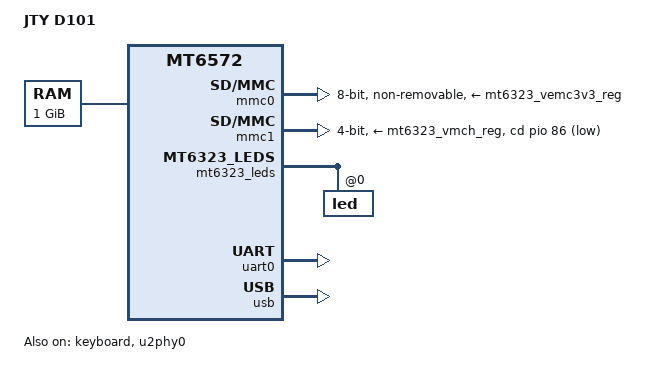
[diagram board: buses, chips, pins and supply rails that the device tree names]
// SPDX-License-Identifier: GPL-2.0
/*
 * Copyright (c) 2025 Max Shevchenko <wctrl@proton.me>
 */

/dts-v1/;
#include <dt-bindings/gpio/gpio.h>
#include <dt-bindings/input/input.h>
#include <dt-bindings/leds/common.h>
#include "mt6572.dtsi"
#include "mt6323.dtsi"

/ {
	model = "JTY D101";
	compatible = "jty,d101", "mediatek,mt6572";

	aliases {
		serial0 = &uart0;
	};

	chosen {
		#address-cells = <1>;
		#size-cells = <1>;
		stdout-path = "serial0:921600n8";

		framebuffer: framebuffer@bf400000 {
			compatible = "simple-framebuffer";
			memory-region = <&framebuffer_reserved>;
			width = <1024>;
			height = <600>;
			stride = <(1024 * 2)>;
			format = "r5g6b5";
			power-domains = <&spm MT6572_POWER_DOMAIN_DIS>;
		};
	};

	memory@80000000 {
		device_type = "memory";
		reg = <0x80000000 0x40000000>;
	};

	reserved-memory {
		#address-cells = <1>;
		#size-cells = <1>;
		ranges;

		connsys@80000000 {
			reg = <0x80000000 0x100000>;
			no-map;
		};

		modem@be000000 {
			reg = <0xbe000000 0x1400000>;
			no-map;
		};

		framebuffer_reserved: framebuffer@bf400000 {
			reg = <0xbf400000 0xc00000>;
			no-map;
		};
	};
};

&cpu0 {
	proc-supply = <&mt6323_vproc_reg>;
};

&cpu1 {
	proc-supply = <&mt6323_vproc_reg>;
};

&keyboard {
	pinctrl-0 = <&keypad_pins>;
	pinctrl-names = "default";
	status = "okay";

	debounce-delay-ms = <32>;
	keypad,num-rows = <2>;
	keypad,num-columns = <1>;
	linux,keymap = <MATRIX_KEY(0, 0, KEY_VOLUMEUP)
			MATRIX_KEY(1, 0, KEY_VOLUMEDOWN)>;
};

&mmc0 {
	bus-width = <8>;
	max-frequency = <200000000>;
	mmc-ddr-1_8v;
	mmc-hs200-1_8v;
	cap-mmc-highspeed;
	non-removable;
	no-sd;
	no-sdio;

	vmmc-supply = <&mt6323_vemc3v3_reg>;
	vqmmc-supply = <&mt6323_vio18_reg>;
	pinctrl-0 = <&mmc0_pins_default>;
	pinctrl-1 = <&mmc0_pins_uhs>;
	pinctrl-names = "default", "state_uhs";

	assigned-clocks = <&topckgen CLK_TOP_MSDC0_SEL>;
	assigned-clock-parents = <&topckgen CLK_TOP_MAINPLL_D8>;

	status = "okay";
};

&mmc1 {
	bus-width = <4>;
	max-frequency = <200000000>;
	sd-uhs-sdr12;
	sd-uhs-sdr25;
	sd-uhs-sdr50;
	sd-uhs-sdr104;
	sd-uhs-ddr50;
	cap-sd-highspeed;
	no-mmc;
	no-sdio;

	vmmc-supply = <&mt6323_vmch_reg>;
	vqmmc-supply = <&mt6323_vmc_reg>;
	pinctrl-0 = <&mmc1_pins_cd>, <&mmc1_pins_default>;
	pinctrl-1 = <&mmc1_pins_cd>, <&mmc1_pins_uhs>;
	pinctrl-names = "default", "state_uhs";
	cd-gpios = <&pio 86 GPIO_ACTIVE_LOW>;

	assigned-clocks = <&topckgen CLK_TOP_MSDC1_SEL>;
	assigned-clock-parents = <&topckgen CLK_TOP_MAINPLL_D10>;

	status = "okay";
};

&mt6323_leds {
	status = "okay";

	led@0 {
		reg = <0>;
		function = LED_FUNCTION_TORCH;
		color = <LED_COLOR_ID_WHITE>;
		default-state = "off";
		linux,default-trigger = "torch";
	};
};

&pio {
	keypad_pins: keypad-pins {
		pins-keypad {
			pinmux = <PINMUX_GPIO110__FUNC_KROW0>,
				 <PINMUX_GPIO111__FUNC_KROW1>;
		};
	};

	mmc0_pins_default: mmc0-default-pins {
		pins-cmd-dat {
			pinmux = <PINMUX_GPIO45__FUNC_MC0_CMD>,
				 <PINMUX_GPIO46__FUNC_MC0_DAT0>,
				 <PINMUX_GPIO47__FUNC_MC0_DAT1>,
				 <PINMUX_GPIO48__FUNC_MC0_DAT2>,
				 <PINMUX_GPIO49__FUNC_MC0_DAT3>,
				 <PINMUX_GPIO50__FUNC_MC0_DAT4>,
				 <PINMUX_GPIO51__FUNC_MC0_DAT5>,
				 <PINMUX_GPIO52__FUNC_MC0_DAT6>,
				 <PINMUX_GPIO53__FUNC_MC0_DAT7>;
			input-enable;
			input-schmitt-enable;
			drive-strength = <6>;
			bias-pull-up = <MTK_PUPD_SET_R1R0_01>;
		};

		pins-clk {
			pinmux = <PINMUX_GPIO44__FUNC_MC0_CK>;
			drive-strength = <6>;
			bias-pull-down = <MTK_PUPD_SET_R1R0_10>;
		};

		pins-rst {
			pinmux = <PINMUX_GPIO54__FUNC_MC0_RSTB>;
			drive-strength = <6>;
			bias-pull-up;
		};
	};

	mmc0_pins_uhs: mmc0-uhs-pins {
		pins-cmd-dat {
			pinmux = <PINMUX_GPIO45__FUNC_MC0_CMD>,
				 <PINMUX_GPIO46__FUNC_MC0_DAT0>,
				 <PINMUX_GPIO47__FUNC_MC0_DAT1>,
				 <PINMUX_GPIO48__FUNC_MC0_DAT2>,
				 <PINMUX_GPIO49__FUNC_MC0_DAT3>,
				 <PINMUX_GPIO50__FUNC_MC0_DAT4>,
				 <PINMUX_GPIO51__FUNC_MC0_DAT5>,
				 <PINMUX_GPIO52__FUNC_MC0_DAT6>,
				 <PINMUX_GPIO53__FUNC_MC0_DAT7>;
			input-enable;
			input-schmitt-enable;
			drive-strength = <8>;
			bias-pull-up = <MTK_PUPD_SET_R1R0_01>;
		};

		pins-clk {
			pinmux = <PINMUX_GPIO44__FUNC_MC0_CK>;
			drive-strength = <8>;
			bias-pull-down = <MTK_PUPD_SET_R1R0_10>;
		};

		pins-rst {
			pinmux = <PINMUX_GPIO54__FUNC_MC0_RSTB>;
			drive-strength = <8>;
			bias-pull-up;
		};
	};

	mmc1_pins_default: mmc1-default-pins {
		pins-cmd-dat {
			pinmux = <PINMUX_GPIO92__FUNC_MC1_CMD>,
				 <PINMUX_GPIO93__FUNC_MC1_DAT0>,
				 <PINMUX_GPIO94__FUNC_MC1_DAT1>,
				 <PINMUX_GPIO95__FUNC_MC1_DAT2>,
				 <PINMUX_GPIO96__FUNC_MC1_DAT3>;
			input-enable;
			input-schmitt-enable;
			drive-strength = <20>;
			bias-pull-up;
			mediatek,tdsel = <5>;
		};

		pins-clk {
			pinmux = <PINMUX_GPIO91__FUNC_MC1_CK>;
			drive-strength = <20>;
			bias-pull-down;
		};
	};

	mmc1_pins_uhs: mmc1-uhs-pins {
		pins-cmd-dat {
			pinmux = <PINMUX_GPIO92__FUNC_MC1_CMD>,
				 <PINMUX_GPIO93__FUNC_MC1_DAT0>,
				 <PINMUX_GPIO94__FUNC_MC1_DAT1>,
				 <PINMUX_GPIO95__FUNC_MC1_DAT2>,
				 <PINMUX_GPIO96__FUNC_MC1_DAT3>;
			input-enable;
			input-schmitt-enable;
			drive-strength = <24>;
			bias-pull-up;
			mediatek,tdsel = <0>;
		};

		pins-clk {
			pinmux = <PINMUX_GPIO91__FUNC_MC1_CK>;
			drive-strength = <24>;
			bias-pull-down;
		};
	};

	mmc1_pins_cd: mmc1-cd-pins {
		pins-cd {
			/* GPIO86 is always input */
			pinmux = <PINMUX_GPIO86__FUNC_MC1_INS>;
		};
	};

	pmic_pins: pmic-pins {
		pins-int {
			pinmux = <PINMUX_GPIO7__FUNC_PMIC_EINT>;
			input-enable;
		};
	};

	uart0_pins: uart0-pins {
		pins-bus {
			pinmux = <PINMUX_GPIO103__FUNC_URXD1>,
				 <PINMUX_GPIO104__FUNC_UTXD1>;
		};
	};
};

&pmic {
	pinctrl-0 = <&pmic_pins>;
	pinctrl-names = "default";

	interrupts = <16 IRQ_TYPE_LEVEL_HIGH>;
};

&u2phy0 {
	status = "okay";
};

&uart0 {
	pinctrl-0 = <&uart0_pins>;
	pinctrl-names = "default";

	status = "okay";
};

&usb {
	status = "okay";
};
